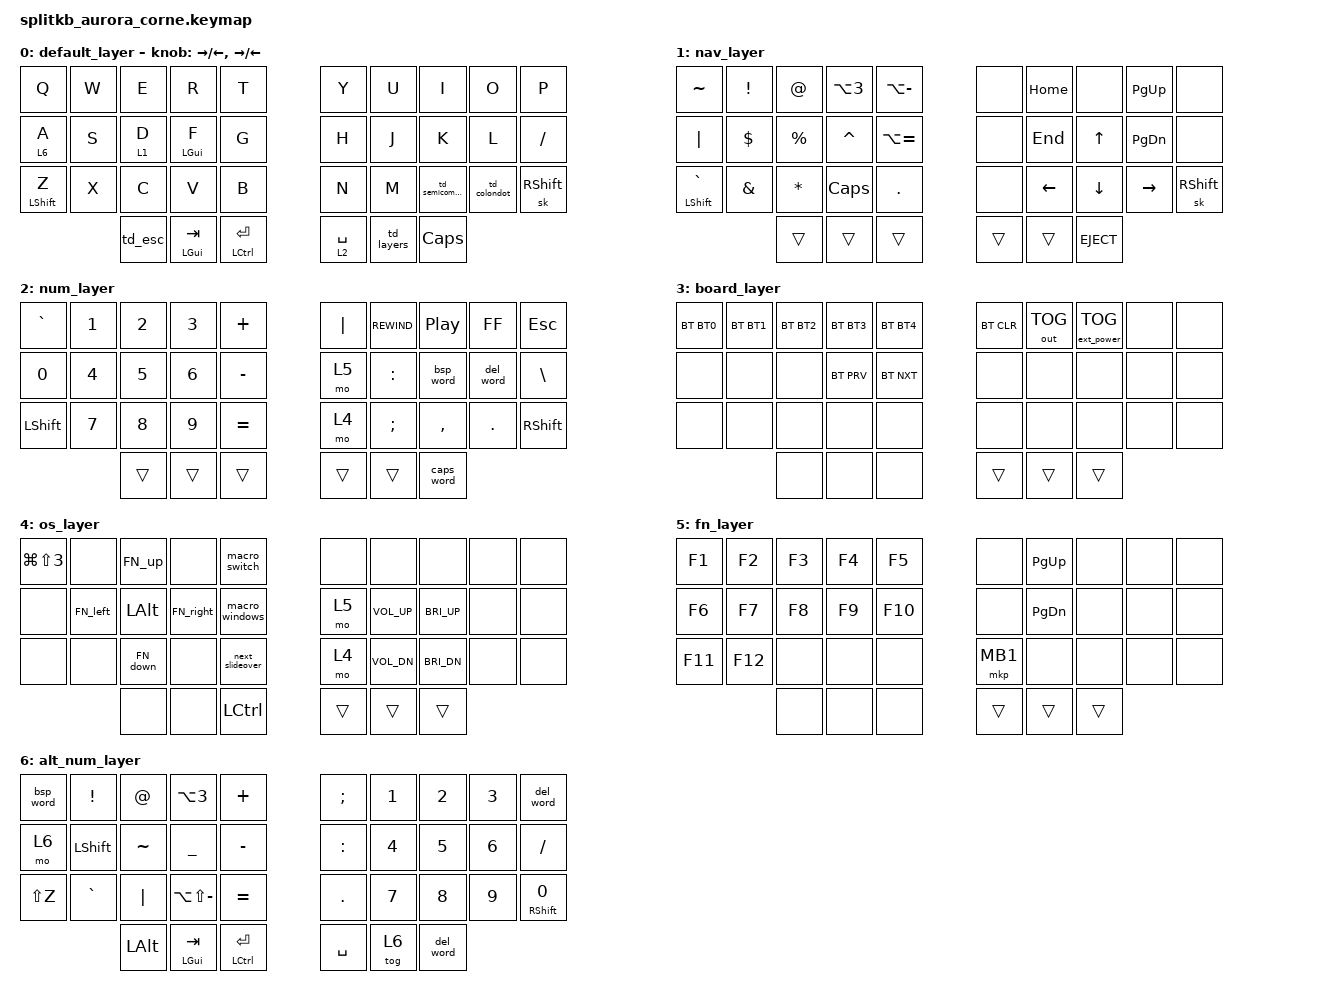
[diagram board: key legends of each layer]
/*
 * Copyright (c) 2020 The ZMK Contributors
 *
 * SPDX-License-Identifier: MIT
 */
// include <dt-bindings/zmk/backlight.h>

#include <dt-bindings/zmk/mouse.h>
#include <behaviors.dtsi>
#include <dt-bindings/zmk/bt.h>
#include <dt-bindings/zmk/ext_power.h>
#include <dt-bindings/zmk/keys.h>
#include <dt-bindings/zmk/outputs.h>
#include <dt-bindings/zmk/pointing.h>

/ {
    chosen { zmk,matrix_transform = &five_column_transform; };
};

// include <dt-bindings/led/led.h>
/*           36 Keys
╭───────────────╮ ╭───────────────╮
│ 0  1  2  3  4 │ │ 5  6  7  8  9 │
│10 11 12 13 14 │ │15 16 17 18 19 │
│20 21 22 23 24 │ │25 26 27 28 29 │
╰────╮ 30 31 32 │ │33 34 35 ╭─────╯
     ╰──────────╯ ╰─────────╯         */

#define BT0 BT_SEL 0
#define BT1 BT_SEL 1
#define BT2 BT_SEL 2
#define BT3 BT_SEL 3
#define BT4 BT_SEL 4

// #define MO_TOG(layer) &mo_tog layer layer   // Macro to apply momentary-layer-on-hold/toggle-layer-on-tap to a specific layer
// &led_strip {
//    chain-length = <18>;
// };

&mt {
    tapping-term-ms = <500>;

    // retro-tap;
};

&lt { tapping-term-ms = <180>; };

&sk {
    release-after-ms = <3000>;
    quick-release;
};

&caps_word { continue-list = <UNDERSCORE MINUS SPACE BACKSPACE>; };

/ {
    combos {
        compatible = "zmk,combos";

        combo_capw {
            timeout-ms = <200>;
            key-positions = <5 15>;
            layers = <0 1 2>;
            bindings = <&caps_word>;
        };

        combo_mo3 {
            timeout-ms = <300>;
            key-positions = <33 34 35>;
            layers = <0 1 2 3 4>;
            bindings = <&mo 3>;
        };

        combo_lpar {
            timeout-ms = <100>;
            key-positions = <4 3>;
            bindings = <&kp LPAR>;
            layers = <0 1 2>;
        };

        combo_rpar {
            timeout-ms = <100>;
            key-positions = <6 5>;
            bindings = <&kp RPAR>;
            layers = <0 1 2>;
        };

        combo_lbkt {
            timeout-ms = <100>;
            key-positions = <13 14>;
            bindings = <&kp LBKT>;
            layers = <0 1 2>;
        };

        combo_rbkt {
            timeout-ms = <100>;
            key-positions = <15 16>;
            bindings = <&kp RBKT>;
            layers = <0 1 2>;
        };

        combo_lbrc {
            timeout-ms = <100>;
            key-positions = <23 24>;
            bindings = <&kp LBRC>;
            layers = <0 1 2>;
        };

        combo_rbrc {
            timeout-ms = <100>;
            key-positions = <25 26>;
            bindings = <&kp RBRC>;
            layers = <0 1 2>;
        };

        combo_hyper {
            timeout-ms = <50>;
            key-positions = <16 17>;
            layers = <0 2>;
            bindings = <&sk LG(LS(LA(LCTRL)))>;
        };

        combo_semi {
            timeout-ms = <30>;
            key-positions = <17 27>;
            layers = <0>;
            bindings = <&kp SEMI>;
        };

        combo_colon {
            timeout-ms = <30>;
            key-positions = <18 28>;
            layers = <0>;
            bindings = <&kp COLON>;
        };

        combo_slideover {
            timeout-ms = <30>;
            layers = <0>;
            key-positions = <1 11>;
            bindings = <&macro_slideover>;
        };

        combo_apos {
            timeout-ms = <50>;
            layers = <0>;
            key-positions = <17 18>;
            bindings = <&kp SQT>;
        };

        combo_dash {
            timeout-ms = <200>;
            key-positions = <3 13>;
            layers = <0 1 2>;
            bindings = <&kp MINUS>;
        };

        combo_undersc {
            timeout-ms = <200>;
            key-positions = <13 23>;
            layers = <0 1 2>;
            bindings = <&kp LS(MINUS)>;
        };

        combo_emdash {
            timeout-ms = <50>;
            layers = <0 1 2>;
            key-positions = <14 4>;
            bindings = <&kp LS(LA(MINUS))>;
        };

        combo_plus {
            timeout-ms = <50>;
            layers = <0 1 2>;
            key-positions = <14 24>;
            bindings = <&kp LS(EQUAL)>;
        };

        L6_shifted {
            bindings = <&mo 6>;
            key-positions = <10 11>;
            timeout-ms = <50>;
        };

        Left {
            bindings = <&kp LEFT>;
            key-positions = <16 17>;
            layers = <6>;
        };

        Right {
            bindings = <&kp RIGHT>;
            key-positions = <17 18>;
            layers = <6>;
        };

        Up {
            bindings = <&kp UP>;
            key-positions = <17 7>;
            layers = <6>;
        };

        Down {
            bindings = <&kp DOWN>;
            key-positions = <17 27>;
            layers = <6>;
        };

        next_slideo {
            bindings = <&next_slideover>;
            key-positions = <11 21>;
        };
    };

    behaviors {
        td_esc: tap_dance_esc {
            compatible = "zmk,behavior-tap-dance";
            label = "TAP_DANCE_ESC";
            #binding-cells = <0>;
            tapping-term-ms = <200>;
            bindings = <&kp LALT>, <&kp ESC>;
        };

        macro_slideover: macro_slideover {
            label = "ZM_macro_slideover";
            compatible = "zmk,behavior-macro";
            #binding-cells = <0>;
            bindings =
                <&macro_press>,
                <&kp CAPS>,
                <&macro_tap>,
                <&kp BSLH>,
                <&macro_release>,
                <&kp CAPS>;
        };

        macro_windows: macro_windows {
            label = "ZM_macro_windows";
            compatible = "zmk,behavior-macro";
            #binding-cells = <0>;
            bindings =
                <&macro_press>,
                <&kp CAPS>,
                <&macro_tap>,
                <&kp DOWN>,
                <&macro_release>,
                <&kp CAPS>;
        };

        macro_switch: macro_switch {
            label = "ZM_macro_switch";
            compatible = "zmk,behavior-macro";
            #binding-cells = <0>;
            bindings =
                <&macro_press>,
                <&kp CAPS>,
                <&macro_tap>,
                <&kp GRAVE>,
                <&macro_release>,
                <&kp CAPS>;
        };

        FN_up: FN_up {
            compatible = "zmk,behavior-macro";
            label = "FN_UP";
            #binding-cells = <0>;
            bindings =
                <&macro_press>,
                <&kp CAPS>,
                <&macro_tap>,
                <&kp UP_ARROW>,
                <&macro_release>,
                <&kp CAPS>;
        };

        FN_down: FN_down {
            compatible = "zmk,behavior-macro";
            label = "FN_DOWN";
            #binding-cells = <0>;
            bindings =
                <&macro_press>,
                <&kp CAPS>,
                <&macro_tap>,
                <&kp DOWN>,
                <&macro_release>,
                <&kp CAPS>;
        };

        FN_left: FN_left {
            compatible = "zmk,behavior-macro";
            label = "FN_LEFT";
            #binding-cells = <0>;
            bindings =
                <&macro_press>,
                <&kp CAPS>,
                <&macro_tap>,
                <&kp LEFT>,
                <&macro_release>,
                <&kp CAPS>;
        };

        FN_right: FN_right {
            compatible = "zmk,behavior-macro";
            label = "FN_RIGHT";
            #binding-cells = <0>;
            bindings =
                <&macro_press>,
                <&kp CAPS>,
                <&macro_tap>,
                <&kp RIGHT>,
                <&macro_release>,
                <&kp CAPS>;
        };

        dotdotdot: dotdotdot {
            compatible = "zmk,behavior-macro";
            #binding-cells = <0>;
            bindings = <&kp DOT &kp DOT &kp DOT>;
            label = "DOTDOTDOT";
        };

        next_slideover: next_slideover {
            compatible = "zmk,behavior-macro";
            label = "NEXT_SLIDEOVER";
            #binding-cells = <0>;
            bindings =
                <&macro_press>,
                <&kp CAPS &kp LCMD>,
                <&macro_tap>,
                <&kp BSLH>,
                <&macro_release>,
                <&kp CAPS &kp LCMD>;
        };

        bdel: backdelete {
            compatible = "zmk,behavior-mod-morph";
            label = "BACK_DEL";
            #binding-cells = <0>;
            bindings = <&kp LA(BSPC)>, <&kp LA(DEL)>;

            mods = <(MOD_LSFT | MOD_RSFT)>;
        };

        hm: homerow_mods {
            compatible = "zmk,behavior-hold-tap";
            label = "HOMEROW_MODS";
            #binding-cells = <2>;
            tapping-term-ms = <275>;
            quick-tap-ms = <0>;
            flavor = "tap-preferred";
            bindings = <&kp>, <&kp>;
        };

        bspc_del: backspace_delete {
            compatible = "zmk,behavior-mod-morph";
            label = "BACKSPACE_DELETE";
            #binding-cells = <0>;
            bindings = <&kp BACKSPACE>, <&kp DELETE>;

            mods = <(MOD_LSFT|MOD_RSFT)>;
        };

        ht_z: holdtap_z {
            compatible = "zmk,behavior-hold-tap";
            label = "HOLD_TAP";
            #binding-cells = <2>;
            tapping-term-ms = <650>;
            quick-tap-ms = <200>;
            require-prior-idle-ms = <125>;
            flavor = "hold-preferred";
            bindings = <&kp>, <&kp>;
        };

        ht_hl: holdtap_homerowlayer {
            compatible = "zmk,behavior-hold-tap";
            label = "HOLDTAP_HOMELAY";
            #binding-cells = <2>;
            tapping-term-ms = <200>;
            flavor = "tap-preferred";
            require-prior-idle-ms = <125>;
            bindings = <&mo>, <&kp>;
        };

        ht_shiftz: ht_shiftz {
            compatible = "zmk,behavior-hold-tap";
            label = "HT_SHIFTZ";
            bindings = <&kp>, <&kp>;

            #binding-cells = <2>;
            tapping-term-ms = <130>;
            flavor = "tap-preferred";
        };

        bsp_word: bsp_word {
            compatible = "zmk,behavior-mod-morph";
            label = "BSP_WORD";
            bindings = <&kp BACKSPACE>, <&kp LA(BACKSPACE)>;

            #binding-cells = <0>;
            mods = <(MOD_LSFT|MOD_RSFT)>;
        };

        del_word: del_word {
            compatible = "zmk,behavior-mod-morph";
            label = "DEL_WORD";
            bindings = <&kp DELETE>, <&kp LA(DELETE)>;

            #binding-cells = <0>;
            mods = <(MOD_LSFT|MOD_RSFT)>;
        };

        td_numshift: td_numshift {
            compatible = "zmk,behavior-tap-dance";
            label = "TD_NUMSHIFT";
            #binding-cells = <0>;
            bindings = <&sk LEFT_SHIFT>, <&tog 6>;
        };

        td_layers: td_layers {
            compatible = "zmk,behavior-tap-dance";
            label = "TD_LAYERS";
            #binding-cells = <0>;
            bindings = <&mo 1>, <&tog 6>;

            tapping-term-ms = <300>;
        };

        td_colondot: td_colondot {
            compatible = "zmk,behavior-tap-dance";
            label = "TD_COLONDOT";
            #binding-cells = <0>;
            bindings = <&kp DOT>, <&kp COLON>, <&dotdotdot>;
        };

        td_semicomma: td_semicomma {
            compatible = "zmk,behavior-tap-dance";
            label = "TD_SEMICOMMA";
            #binding-cells = <0>;
            bindings = <&kp COMMA>, <&kp SEMI>;
        };
    };

    macros {
    };

    keymap {
        compatible = "zmk,keymap";

        default_layer {
            bindings = <
  &kp Q                    &kp W  &kp E       &kp R         &kp T            &kp Y        &kp U       &kp I          &kp O         &kp P
  &ht_hl 6 A               &kp S  &ht_hl 1 D  &hm LGUI F    &kp G            &kp H        &kp J       &kp K          &kp L         &kp FSLH
  &ht_shiftz LEFT_SHIFT Z  &kp X  &kp C       &kp V         &kp B            &kp N        &kp M       &td_semicomma  &td_colondot  &sk RSHFT
                                  &td_esc     &mt LGUI TAB  &mt LCTRL RET    &lt 2 SPACE  &td_layers  &kp CAPS
            >;

            sensor-bindings =
                <&inc_dec_kp RIGHT LEFT>,
                <&inc_dec_kp RIGHT_ARROW LEFT_ARROW>;
        };

        nav_layer {
            bindings = <
  &kp TILDE         &kp EXCL  &kp AT     &kp LA(N3)  &kp LA(MINUS)    &none   &kp HOME  &none        &kp PAGE_UP    &none
  &kp PIPE          &kp DLLR  &kp PRCNT  &kp CARET   &kp LA(EQUAL)    &none   &kp END   &kp UP       &kp PAGE_DOWN  &none
  &hm LSHIFT GRAVE  &kp AMPS  &kp STAR   &kp CAPS    &kp DOT          &none   &kp LEFT  &kp DOWN     &kp RIGHT      &sk RSHFT
                              &trans     &trans      &trans           &trans  &trans    &kp C_EJECT
            >;
        };

        num_layer {
            bindings = <
  &kp GRAVE  &kp NUMBER_1  &kp NUMBER_2  &kp NUMBER_3  &kp PLUS     &kp PIPE  &kp C_REWIND  &kp C_PLAY_PAUSE  &kp C_FF   &kp ESC
  &kp N0     &kp N4        &kp N5        &kp N6        &kp MINUS    &mo 5     &kp COLON     &bsp_word         &del_word  &kp BSLH
  &kp LSHFT  &kp N7        &kp N8        &kp N9        &kp EQUAL    &mo 4     &kp SEMI      &kp COMMA         &kp DOT    &kp RSHFT
                           &trans        &trans        &trans       &trans    &trans        &caps_word
            >;
        };

        board_layer {
            bindings = <
  &bt BT0  &bt BT1  &bt BT2  &bt BT3     &bt BT4       &bt BT_CLR  &out OUT_TOG  &ext_power EP_TOG  &none  &none
  &none    &none    &none    &bt BT_PRV  &bt BT_NXT    &none       &none         &none              &none  &none
  &none    &none    &none    &none       &none         &none       &none         &none              &none  &none
                    &none    &none       &none         &trans      &trans        &trans
            >;
        };

        os_layer {
            bindings = <
  &kp LG(LS(NUMBER_3))  &none     &FN_up        &none      &macro_switch       &none   &none         &none         &none  &none
  &none                 &FN_left  &kp LEFT_ALT  &FN_right  &macro_windows      &mo 5   &kp C_VOL_UP  &kp C_BRI_UP  &none  &none
  &none                 &none     &FN_down      &none      &next_slideover     &mo 4   &kp C_VOL_DN  &kp C_BRI_DN  &none  &none
                                  &none         &none      &kp LEFT_CONTROL    &trans  &trans        &trans
            >;
        };

        fn_layer {
            bindings = <
  &kp F1   &kp F2   &kp F3  &kp F4  &kp F5     &none     &kp PG_UP  &none   &none  &none
  &kp F6   &kp F7   &kp F8  &kp F9  &kp F10    &none     &kp PG_DN  &none   &none  &none
  &kp F11  &kp F12  &none   &none   &none      &mkp MB1  &none      &none   &none  &none
                    &none   &none   &none      &trans    &trans     &trans
            >;
        };

        alt_num_layer {
            bindings = <
  &bsp_word  &kp EXCL        &kp AT_SIGN   &kp LA(NUMBER_3)   &kp PLUS                  &kp SEMI    &kp NUMBER_1  &kp N2     &kp N3  &del_word
  &mo 6      &kp LEFT_SHIFT  &kp TILDE     &kp UNDER          &kp MINUS                 &kp COLON   &kp N4        &kp N5     &kp N6  &kp SLASH
  &kp LS(Z)  &kp GRAVE       &kp PIPE      &kp LA(LS(MINUS))  &kp EQUAL                 &kp PERIOD  &kp N7        &kp N8     &kp N9  &ht_shiftz RIGHT_SHIFT N0
                             &kp LEFT_ALT  &mt LGUI TAB       &mt LEFT_CONTROL ENTER    &kp SPACE   &tog 6        &del_word
            >;
        };
    };
};
